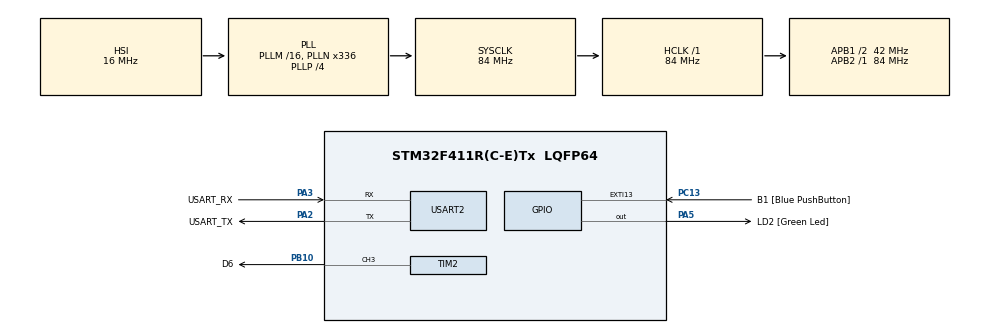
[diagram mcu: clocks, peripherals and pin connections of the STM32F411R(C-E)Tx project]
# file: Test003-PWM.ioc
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Mcu.Family=STM32F4
Mcu.Name=STM32F411R(C-E)Tx
Mcu.Package=LQFP64
NVIC.EXTI15_10_IRQn=true\:0\:0\:false\:false\:true\:true\:true\:true
NVIC.PriorityGroup=NVIC_PRIORITYGROUP_0
PA13.GPIO_Label=TMS
PA13.Mode=Serial_Wire
PA13.Signal=SYS_JTMS-SWDIO
PA14.GPIO_Label=TCK
PA14.Mode=Serial_Wire
PA14.Signal=SYS_JTCK-SWCLK
PA2.GPIO_Label=USART_TX
PA2.Mode=Asynchronous
PA2.Signal=USART2_TX
PA3.GPIO_Label=USART_RX
PA3.Mode=Asynchronous
PA3.Signal=USART2_RX
PA5.GPIO_Label=LD2 [Green Led]
PA5.Signal=GPIO_Output
PB10.GPIO_Label=D6
PB10.Signal=S_TIM2_CH3
PB3.GPIO_Label=SWO
PB3.Signal=SYS_JTDO-SWO
PC13-ANTI_TAMP.GPIO_Label=B1 [Blue PushButton]
PC13-ANTI_TAMP.GPIO_ModeDefaultEXTI=GPIO_MODE_IT_FALLING
PC13-ANTI_TAMP.Signal=GPXTI13
PC14-OSC32_IN.Mode=LSE-External-Oscillator
PC14-OSC32_IN.Signal=RCC_OSC32_IN
PC15-OSC32_OUT.Mode=LSE-External-Oscillator
PC15-OSC32_OUT.Signal=RCC_OSC32_OUT
PH0\ -\ OSC_IN.Mode=HSE-External-Clock-Source
PH0\ -\ OSC_IN.Signal=RCC_OSC_IN
PH1\ -\ OSC_OUT.Mode=HSE-External-Clock-Source
PH1\ -\ OSC_OUT.Signal=RCC_OSC_OUT
ProjectManager.HeapSize=0x200
ProjectManager.StackSize=0x400
ProjectManager.TargetToolchain=STM32CubeIDE
RCC.48MHZClocksFreq_Value=84000000
RCC.AHBFreq_Value=84000000
RCC.APB1CLKDivider=RCC_HCLK_DIV2
RCC.APB1Freq_Value=42000000
RCC.APB1TimFreq_Value=84000000
RCC.APB2Freq_Value=84000000
RCC.APB2TimFreq_Value=84000000
RCC.CortexFreq_Value=84000000
RCC.FLatency-AdvancedSettings=FLASH_LATENCY_2
RCC.HCLKFreq_Value=84000000
RCC.HSE_VALUE=8000000
RCC.HSI_VALUE=16000000
RCC.PLLN=336
RCC.PLLP=RCC_PLLP_DIV4
RCC.SYSCLKFreq_VALUE=84000000
RCC.SYSCLKSource=RCC_SYSCLKSOURCE_PLLCLK
RCC.VCOOutputFreq_Value=336000000
SH.S_TIM2_CH3.0=TIM2_CH3,PWM Generation3 CH3
TIM2.Channel-PWM\ Generation3\ CH3=TIM_CHANNEL_3
TIM2.Period=1000-1
TIM2.Prescaler=(8400)-1
USART2.VirtualMode=VM_ASYNC
board=NUCLEO-F411RE

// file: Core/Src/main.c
/* USER CODE BEGIN Header */
/**
  ******************************************************************************
  * @file           : main.c
  * @brief          : Main program body
  ******************************************************************************
  * @attention
  *
  * Copyright (c) 2024 STMicroelectronics.
  * All rights reserved.
  *
  * This software is licensed under terms that can be found in the LICENSE file
  * in the root directory of this software component.
  * If no LICENSE file comes with this software, it is provided AS-IS.
  *
  ******************************************************************************
  */
/* USER CODE END Header */
#include "main.h"

TIM_HandleTypeDef htim2;

UART_HandleTypeDef huart2;

/* USER CODE BEGIN PV */
enum notes {
  A = 95,
  AS = 90,
  B = 85,
  C = 80,
  CS = 76,
  D = 71,
  DS = 67,
  E = 63,
  F = 60
};
/* USER CODE END PV */

void SystemClock_Config(void);
static void MX_GPIO_Init(void);
static void MX_USART2_UART_Init(void);
static void MX_TIM2_Init(void);

/* USER CODE BEGIN 0 */
int mux = 1;
void HAL_GPIO_EXTI_Callback(uint16_t GPIO_Pin)
{
	if(++mux > 20) mux = 1;

}
/* USER CODE END 0 */

int main(void)
{

  /* MCU Configuration--------------------------------------------------------*/

  /* Reset of all peripherals, Initializes the Flash interface and the Systick. */
  HAL_Init();

  /* Configure the system clock */
  SystemClock_Config();

  /* Initialize all configured peripherals */
  MX_GPIO_Init();
  MX_USART2_UART_Init();
  MX_TIM2_Init();
  /* USER CODE BEGIN 2 */
  ProgramStart("PWM");
  HAL_TIM_PWM_Start(&htim2, TIM_CHANNEL_3);	// TIM2 PWM start
  TIM2->CCR3 = TIM2->ARR / 2;		// Duty Rate 50%
  int sn = 2800;	// C3

  uint16_t bell[] = {E, DS, E ,DS, E, DS, E ,DS, E };
  /* USER CODE END 2 */

  /* Infinite loop */
  /* USER CODE BEGIN WHILE */
  while (1)
  {
	  //htim2.Instance->PSC = C;
	  //TIM2->PSC = C;
	  for(int i = 0; i < 9; i++)
	  {
		  TIM2->PSC = bell[i];
		  HAL_Delay(250);
	  }

	  TIM2->CCR3 = 0;
	  HAL_Delay(500);
	  TIM2->CCR3 = TIM2->ARR / 2;

	  TIM2->PSC = E;
	  HAL_Delay(250);
	  TIM2->PSC = F;
	  HAL_Delay(125);
	  TIM2->PSC = E;
	  HAL_Delay(125);

	  TIM2->PSC = C;
	  HAL_Delay(150);
	  TIM2->CCR3 = 0;
	  HAL_Delay(100);
	  TIM2->CCR3 = TIM2->ARR / 2;

	  TIM2->PSC = B;
	  HAL_Delay(150);
	  TIM2->CCR3 = 0;
	  HAL_Delay(100);
	  TIM2->CCR3 = TIM2->ARR / 2;

	  TIM2->PSC = A;
	  HAL_Delay(1000);
	  TIM2->CCR3 = 0;

	  HAL_Delay(2000);
	  TIM2->CCR3 = TIM2->ARR / 2;

//	  int f = 84000000L / (htim2.Instance->PSC * htim2.Instance->ARR);
//	  printf("Current Frequency : %d\r\n", f);

    /* USER CODE END WHILE */

  }
}

void SystemClock_Config(void)
{
  RCC_OscInitTypeDef RCC_OscInitStruct = {0};
  RCC_ClkInitTypeDef RCC_ClkInitStruct = {0};

  /** Configure the main internal regulator output voltage
  */
  __HAL_RCC_PWR_CLK_ENABLE();
  __HAL_PWR_VOLTAGESCALING_CONFIG(PWR_REGULATOR_VOLTAGE_SCALE1);

  /** Initializes the RCC Oscillators according to the specified parameters
  * in the RCC_OscInitTypeDef structure.
  */
  RCC_OscInitStruct.OscillatorType = RCC_OSCILLATORTYPE_HSI;
  RCC_OscInitStruct.HSIState = RCC_HSI_ON;
  RCC_OscInitStruct.HSICalibrationValue = RCC_HSICALIBRATION_DEFAULT;
  RCC_OscInitStruct.PLL.PLLState = RCC_PLL_ON;
  RCC_OscInitStruct.PLL.PLLSource = RCC_PLLSOURCE_HSI;
  RCC_OscInitStruct.PLL.PLLM = 16;
  RCC_OscInitStruct.PLL.PLLN = 336;
  RCC_OscInitStruct.PLL.PLLP = RCC_PLLP_DIV4;
  RCC_OscInitStruct.PLL.PLLQ = 4;
  if (HAL_RCC_OscConfig(&RCC_OscInitStruct) != HAL_OK)
  {
    Error_Handler();
  }

  /** Initializes the CPU, AHB and APB buses clocks
  */
  RCC_ClkInitStruct.ClockType = RCC_CLOCKTYPE_HCLK|RCC_CLOCKTYPE_SYSCLK
                              |RCC_CLOCKTYPE_PCLK1|RCC_CLOCKTYPE_PCLK2;
  RCC_ClkInitStruct.SYSCLKSource = RCC_SYSCLKSOURCE_PLLCLK;
  RCC_ClkInitStruct.AHBCLKDivider = RCC_SYSCLK_DIV1;
  RCC_ClkInitStruct.APB1CLKDivider = RCC_HCLK_DIV2;
  RCC_ClkInitStruct.APB2CLKDivider = RCC_HCLK_DIV1;

  if (HAL_RCC_ClockConfig(&RCC_ClkInitStruct, FLASH_LATENCY_2) != HAL_OK)
  {
    Error_Handler();
  }
}

static void MX_TIM2_Init(void)
{

  TIM_MasterConfigTypeDef sMasterConfig = {0};
  TIM_OC_InitTypeDef sConfigOC = {0};

  htim2.Instance = TIM2;
  htim2.Init.Prescaler = (8400)-1;
  htim2.Init.CounterMode = TIM_COUNTERMODE_UP;
  htim2.Init.Period = 1000-1;
  htim2.Init.ClockDivision = TIM_CLOCKDIVISION_DIV1;
  htim2.Init.AutoReloadPreload = TIM_AUTORELOAD_PRELOAD_DISABLE;
  if (HAL_TIM_PWM_Init(&htim2) != HAL_OK)
  {
    Error_Handler();
  }
  sMasterConfig.MasterOutputTrigger = TIM_TRGO_RESET;
  sMasterConfig.MasterSlaveMode = TIM_MASTERSLAVEMODE_DISABLE;
  if (HAL_TIMEx_MasterConfigSynchronization(&htim2, &sMasterConfig) != HAL_OK)
  {
    Error_Handler();
  }
  sConfigOC.OCMode = TIM_OCMODE_PWM1;
  sConfigOC.Pulse = 0;
  sConfigOC.OCPolarity = TIM_OCPOLARITY_HIGH;
  sConfigOC.OCFastMode = TIM_OCFAST_DISABLE;
  if (HAL_TIM_PWM_ConfigChannel(&htim2, &sConfigOC, TIM_CHANNEL_3) != HAL_OK)
  {
    Error_Handler();
  }
  HAL_TIM_MspPostInit(&htim2);

}

static void MX_USART2_UART_Init(void)
{

  huart2.Instance = USART2;
  huart2.Init.BaudRate = 115200;
  huart2.Init.WordLength = UART_WORDLENGTH_8B;
  huart2.Init.StopBits = UART_STOPBITS_1;
  huart2.Init.Parity = UART_PARITY_NONE;
  huart2.Init.Mode = UART_MODE_TX_RX;
  huart2.Init.HwFlowCtl = UART_HWCONTROL_NONE;
  huart2.Init.OverSampling = UART_OVERSAMPLING_16;
  if (HAL_UART_Init(&huart2) != HAL_OK)
  {
    Error_Handler();
  }

}

static void MX_GPIO_Init(void)
{
  GPIO_InitTypeDef GPIO_InitStruct = {0};

  /* GPIO Ports Clock Enable */
  __HAL_RCC_GPIOC_CLK_ENABLE();
  __HAL_RCC_GPIOH_CLK_ENABLE();
  __HAL_RCC_GPIOA_CLK_ENABLE();
  __HAL_RCC_GPIOB_CLK_ENABLE();

  /*Configure GPIO pin Output Level */
  HAL_GPIO_WritePin(LD2_GPIO_Port, LD2_Pin, GPIO_PIN_RESET);

  /*Configure GPIO pin : B1_Pin */
  GPIO_InitStruct.Pin = B1_Pin;
  GPIO_InitStruct.Mode = GPIO_MODE_IT_FALLING;
  GPIO_InitStruct.Pull = GPIO_NOPULL;
  HAL_GPIO_Init(B1_GPIO_Port, &GPIO_InitStruct);

  /*Configure GPIO pin : LD2_Pin */
  GPIO_InitStruct.Pin = LD2_Pin;
  GPIO_InitStruct.Mode = GPIO_MODE_OUTPUT_PP;
  GPIO_InitStruct.Pull = GPIO_NOPULL;
  GPIO_InitStruct.Speed = GPIO_SPEED_FREQ_LOW;
  HAL_GPIO_Init(LD2_GPIO_Port, &GPIO_InitStruct);

  /* EXTI interrupt init*/
  HAL_NVIC_SetPriority(EXTI15_10_IRQn, 0, 0);
  HAL_NVIC_EnableIRQ(EXTI15_10_IRQn);

}

void Error_Handler(void)
{
  __disable_irq();
  while (1)
  {
  }
}
